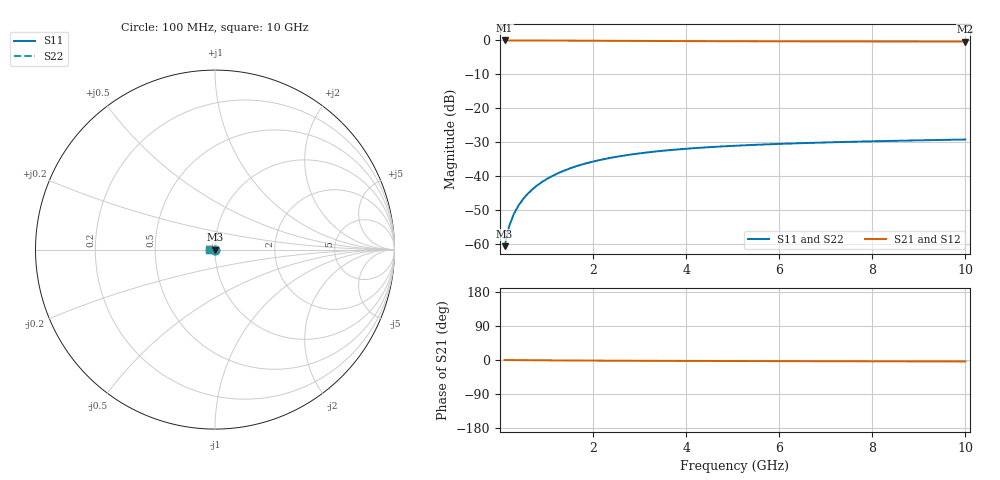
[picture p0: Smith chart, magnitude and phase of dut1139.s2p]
! Touchstone file exported from HFSS 2024.1.0
!  File:  C:/UserFiles/LocalFiles/RDL_TSV_Batchsim/temp_TSV1_1139_1780070880.aedt
!  Generated:  12:12:50 AM May 30, 2026
!  Design:  TSV1
!  Project:  temp_TSV1_1139_1780070880
!  Setup:  Setup1
!  Solution:  Sweep
! Variables:
!  dtsv = 10.47um
!  hbump = 3um
!  htsv = 58.33um
!  lrdl = 252.1521522um
!  p = 40
!  p1 = 49.19um
!  t = 500um
!  trdl = 3um
!  wrdl = 24.89489489um
# GHz S MA R 50.000000
! Terminal data exported
! Port[1] = TSV22_T1
! Port[2] = TSV22_T2
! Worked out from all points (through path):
!   100 points, 100 MHz to 10 GHz, reference 50 ohm
!   highest |S21| = 0.00 dB at 100 MHz (marker M1); lowest = -0.3 dB at 10 GHz (marker M2)
!   lowest |S11| = -60.5 dB at 100 MHz (marker M3), VSWR 1.00, Z = 50 - j0.094 ohm
!   |S11| at or under -10 dB: start of sweep to end of sweep
!   |S22| runs from -60.5 to -29.1 dB; largest |S21 - S12| = 3.1e-15
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0.1  0.0009435 -85.1  0.9999 -0.1  0.9999 -0.1  0.0009435 -85.1
! Gamma 0 0 0 0
! Port Impedance 50 0 50 0
0.2  0.001879 -90.0  0.9998 -0.2  0.9998 -0.2  0.001879 -90.0
0.3  0.002817 -92.9  0.9996 -0.3  0.9996 -0.3  0.002817 -92.9
0.4  0.003752 -95.3  0.9994 -0.4  0.9994 -0.4  0.003752 -95.3
0.5  0.004679 -97.4  0.9991 -0.5  0.9991 -0.5  0.004679 -97.4
0.6  0.005596 -99.4  0.9988 -0.6  0.9988 -0.6  0.005596 -99.4
0.7  0.0065 -101.4  0.9984 -0.6  0.9984 -0.6  0.0065 -101.4
0.8  0.007389 -103.3  0.998 -0.7  0.998 -0.7  0.007389 -103.3
0.9  0.008263 -105.1  0.9975 -0.8  0.9975 -0.8  0.008263 -105.1
1.1  0.009957 -108.7  0.9965 -1.0  0.9965 -1.0  0.009957 -108.7
1.4  0.01235 -113.7  0.9947 -1.2  0.9947 -1.2  0.01235 -113.7
1.6  0.01383 -116.9  0.9934 -1.3  0.9934 -1.3  0.01383 -116.9
1.8  0.01523 -120.0  0.992 -1.5  0.992 -1.5  0.01523 -120.0
2.1  0.01716 -124.4  0.9899 -1.6  0.9899 -1.6  0.01716 -124.4
2.5  0.01944 -129.7  0.9872 -1.8  0.9872 -1.8  0.01944 -129.7
2.9  0.02141 -134.6  0.9846 -2.0  0.9846 -2.0  0.02141 -134.6
3.4  0.02349 -140.1  0.9816 -2.2  0.9816 -2.2  0.02349 -140.1
4.2  0.02613 -147.7  0.9775 -2.5  0.9775 -2.5  0.02613 -147.7
5.1  0.02837 -154.9  0.9738 -2.7  0.9738 -2.7  0.02837 -154.9
6.7  0.0312 -165.1  0.969 -3.1  0.969 -3.1  0.0312 -165.1
8.4  0.03333 -173.8  0.9657 -3.5  0.9657 -3.5  0.03333 -173.8
10  0.03492 179.4  0.9636 -3.9  0.9636 -3.9  0.03492 179.4
